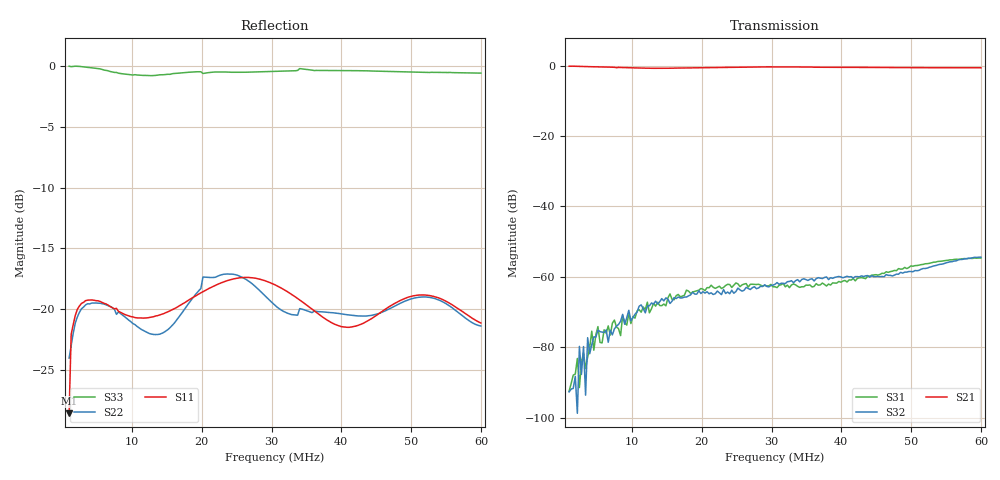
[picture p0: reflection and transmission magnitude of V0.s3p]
#  HZ  S  DB  R  50.00
! Rohde & Schwarz ZVT8 8Ports - Version 4.11 - 1300.0000k08 SN: 100242
! Date: 2024-03-13 13:31:02
! Measurements: S11 S12 S13 S21 S22 S23 S31 S32 S33
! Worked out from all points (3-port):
!   201 points, 1 MHz to 60 MHz, reference 50 ohm
!   strongest paths, dB at 1 MHz, 15.75 MHz, 30.5 MHz, 45.25 MHz, 60 MHz:
!     S21: -0.2, -0.7, -0.4, -0.6, -0.6
!     S32: -92.7, -66.9, -62.1, -59.9, -54.4
!     S31: -92.5, -66.4, -62.8, -59.5, -54.7
!   lowest |S11| = -28.6 dB at 1 MHz (marker M1), VSWR 1.08, Z = 46.7 - j1.39 ohm
!   |S11| at or under -10 dB: start of sweep to end of sweep
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1000000  -28.59 -156.5  -0.05 -12.9  -90.84 80.3
         -0.20 -12.6  -24.05 -164.7  -93.60 69.5
         -92.46 77.1  -92.69 65.9  -0.00 -9.1
2180000  -20.03 150.9  -0.10 -27.3  -81.86 51.4
         -0.24 -26.9  -20.66 136.5  -79.90 92.6
         -83.19 95.6  -98.77 -14.1  -0.01 -19.8
7490000  -19.99 31.0  -0.45 -92.3  -72.17 -2.5
         -0.50 -91.8  -20.02 -9.2  -74.08 42.9
         -72.29 10.4  -74.79 34.1  -0.52 -68.9
1.4865e7  -20.30 -88.4  -0.77 -178.6  -66.56 -80.8
          -0.78 -178.4  -21.82 -179.0  -70.16 -49.3
          -68.25 -72.9  -65.99 -48.1  -0.69 -130.8
2.283e7  -17.84 121.7  -0.45 87.3  -63.98 177.9
         -0.51 87.2  -17.18 -10.2  -65.04 -125.9
         -63.32 173.4  -65.05 -130.1  -0.48 156.2
3.05e7  -18.01 -12.2  -0.29 -5.5  -62.56 79.9
        -0.39 -5.5  -19.70 172.8  -62.00 173.6
        -62.83 77.8  -62.14 165.9  -0.42 86.3
3.758e7  -20.77 -146.2  -0.41 -90.7  -61.29 12.4
         -0.49 -90.6  -20.26 -11.7  -59.68 103.4
         -62.16 6.6  -60.20 101.1  -0.35 23.2
4.4955e7  -20.56 57.6  -0.48 -179.7  -58.48 -71.7
          -0.55 -179.6  -20.44 161.7  -59.31 29.5
          -59.39 -67.8  -59.93 37.6  -0.41 -43.2
5.233e7  -18.87 -67.2  -0.55 92.3  -56.66 -161.9
         -0.62 92.4  -19.03 -9.5  -57.93 -26.7
         -56.26 -156.9  -57.53 -21.4  -0.51 -108.7
6e7  -21.15 158.0  -0.57 0.5  -55.48 100.9
     -0.64 0.6  -21.41 167.4  -55.29 -102.0
     -54.68 100.2  -54.40 -103.3  -0.57 -178.0
